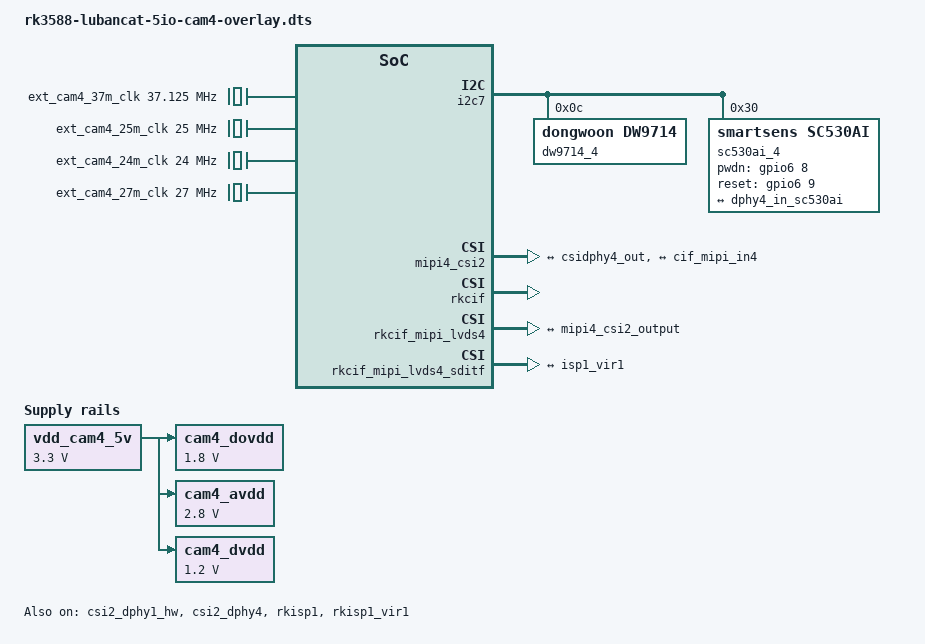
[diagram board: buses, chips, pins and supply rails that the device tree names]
/dts-v1/;
/plugin/;

#include <dt-bindings/usb/pd.h>
#include <dt-bindings/gpio/gpio.h>
#include <dt-bindings/pwm/pwm.h>
#include <dt-bindings/pinctrl/rockchip.h>
#include <dt-bindings/input/rk-input.h>
#include <dt-bindings/display/drm_mipi_dsi.h>
#include <dt-bindings/display/rockchip_vop.h>
#include <dt-bindings/sensor-dev.h>

/ {
	fragment@0 {
		target-path = "/";

		__overlay__ {
			ext_cam4_37m_clk: external-camera-37m-clock {
				compatible = "fixed-clock";
				clock-frequency = <37125000>;
				clock-output-names = "ext_cam4_37m_clk";
				#clock-cells = <0>;
			};

			ext_cam4_25m_clk: external-camera-25m-clock {
				compatible = "fixed-clock";
				clock-frequency = <25000000>;
				clock-output-names = "ext_cam4_25m_clk";
				#clock-cells = <0>;
			};

			ext_cam4_24m_clk: external-camera-24m-clock {
				compatible = "fixed-clock";
				#clock-cells = <0>;
				clock-frequency = <24000000>;
				clock-output-names = "ext_cam4_24m_clk";
			};

			ext_cam4_27m_clk: external-camera-27m-clock {
				compatible = "fixed-clock";
				#clock-cells = <0>;
				clock-frequency = <27000000>;
				clock-output-names = "ext_cam4_27m_clk";
			};

			vdd_cam4_5v: vdd-cam4-5v-regulator {
				compatible = "regulator-fixed";
				regulator-name = "vdd_cam4_5v";
				regulator-always-on;
				regulator-boot-on;
				regulator-min-microvolt = <3300000>;
				regulator-max-microvolt = <3300000>;
			};

			cam4_dovdd: cam4-dovdd {
				compatible = "regulator-fixed";
				regulator-name = "cam4_dovdd";
				regulator-always-on;
				regulator-boot-on;
				regulator-min-microvolt = <1800000>;
				regulator-max-microvolt = <1800000>;
				vin-supply = <&vdd_cam4_5v>;
			};

			cam4_avdd: cam4-avdd {
				compatible = "regulator-fixed";
				regulator-name = "cam4_avdd";
				regulator-always-on;
				regulator-boot-on;
				regulator-min-microvolt = <2800000>;
				regulator-max-microvolt = <2800000>;
				vin-supply = <&vdd_cam4_5v>;
			};

			cam4_dvdd: cam4-dvdd {
				compatible = "regulator-fixed";
				regulator-name = "cam4_dvdd";
				regulator-always-on;
				regulator-boot-on;
				regulator-min-microvolt = <1200000>;
				regulator-max-microvolt = <1200000>;
				vin-supply = <&vdd_cam4_5v>;
			};
		};
	};

	/* Link path: sensor->csi2_dphy4->mipi4_csi2->rkcif_mipi_lvds4--->rkcif_mipi_lvds4_sditf->rkisp1_vir1 */
	fragment@1 {
		target = <&i2c7>;

		__overlay__ {
			status = "okay";
			pinctrl-names = "default";
			pinctrl-0 = <&i2c7m0_xfer>;
			#address-cells = <1>;
			#size-cells = <0>;

			dw9714_4: dw9714-4@c {
				status = "okay";
				compatible = "dongwoon,dw9714";
				reg = <0xc>;
				rockchip,camera-module-index = <4>;
				rockchip,vcm-max-current = <100>;
				rockchip,vcm-start-current = <0>;
				rockchip,vcm-rated-current = <100>;
				rockchip,vcm-step-mode = <0xd>;
				rockchip,vcm-dlc-enable = <0>;
				rockchip,vcm-mclk = <0>;
				rockchip,vcm-t-src = <0>;
				rockchip,camera-module-facing = "back";
			};

			ov5647_4: ov5647-4@36 {
				compatible = "ovti,ov5647";
				status = "disabled";
				reg = <0x36>;
				clocks = <&ext_cam4_25m_clk>;
				clock-names = "ext_cam_25m_clk";
				pwdn-gpios = <&gpio6 8 GPIO_ACTIVE_LOW>;
				lens-focus = <&dw9714_4>;
				port {
					ov5647_out4: endpoint {
						remote-endpoint = <&dphy4_in_ov5647>;
						data-lanes = <1 2>;
					};
				};
			};

			ov5648_4: ov5648-4@36 {
				compatible = "ovti,ov5648";
				status = "disabled";
				reg = <0x36>;
				clocks = <&ext_cam4_24m_clk>;
				clock-names = "xvclk";
				dovdd-supply= <&cam4_dovdd>; /* 1.8v */
				avdd-supply = <&cam4_avdd>;  /* 2.8v */
				dvdd-supply = <&cam4_dvdd>;  /* 1.2v */
				pwdn-gpios = <&gpio6 8 GPIO_ACTIVE_HIGH>;
				reset-gpios = <&gpio6 9 GPIO_ACTIVE_LOW>;
				rotation = <180>;

				rockchip,camera-module-index = <4>;
				rockchip,camera-module-facing = "back";
				rockchip,camera-module-name = "THDS11073";
				rockchip,camera-module-lens-name = "Largan-40122a1";
				lens-focus = <&dw9714_4>;
				port {
					/* MIPI CSI-2 bus endpoint */
					ov5648_out4: endpoint {
						remote-endpoint = <&dphy4_in_ov5648>;
						clock-lanes = <0>;
						data-lanes = <1 2>;
					};
				};
			};

			ov8858_4: ov8858-4@36 {
				compatible = "ovti,ov8858";
				status = "disabled";
				reg = <0x36>;
				clocks = <&ext_cam4_24m_clk>;
				clock-names = "xvclk";
				dovdd-supply= <&cam4_dovdd>; /* 1.8v */
				avdd-supply = <&cam4_avdd>;  /* 2.8v */
				dvdd-supply = <&cam4_dvdd>;  /* 1.2v */
				pwdn-gpios = <&gpio6 8 GPIO_ACTIVE_HIGH>;
				reset-gpios = <&gpio6 9 GPIO_ACTIVE_HIGH>;
				rotation = <180>;

				rockchip,camera-module-index = <4>;
				rockchip,camera-module-facing = "back";
				rockchip,camera-module-name = "HS5885-BNSM1018-V01";
				rockchip,camera-module-lens-name = "default";
				lens-focus = <&dw9714_4>;
				port {
					/* MIPI CSI-2 bus endpoint */
					ov8858_out4: endpoint {
						remote-endpoint = <&dphy4_in_ov8858>;
						clock-lanes = <0>;
						data-lanes = <1 2>;
					};
				};
			};

			ov13850_4: ov13850-4@10 {
				compatible = "ovti,ov13850";
				status = "disabled";
				reg = <0x10>;
				clocks = <&ext_cam4_24m_clk>;
				clock-names = "xvclk";
				dovdd-supply= <&cam4_dovdd>; /* 1.8v */
				avdd-supply = <&cam4_avdd>;  /* 2.8v */
				dvdd-supply = <&cam4_dvdd>;  /* 1.2v */
				pwdn-gpios = <&gpio6 8 GPIO_ACTIVE_HIGH>;
				reset-gpios = <&gpio6 9 GPIO_ACTIVE_HIGH>;
				rotation = <180>;
				rockchip,camera-module-index = <4>;
				rockchip,camera-module-facing = "back";
				rockchip,camera-module-name = "ZC-OV13850R2A-V1";
				rockchip,camera-module-lens-name = "Largan-50064B31";
				lens-focus = <&dw9714_4>;
				port {
					/* MIPI CSI-2 bus endpoint */
					ov13850_out4: endpoint {
						remote-endpoint = <&dphy4_in_ov13850>;
						clock-lanes = <0>;
						data-lanes = <1 2>;
					};
				};
			};

			imx415_4: imx415-4@1a {
				compatible = "sony,imx415";
				status = "disabled";
				reg = <0x1a>;
				clocks = <&ext_cam4_37m_clk>;
				clock-names = "xvclk";
				avdd-supply = <&cam4_avdd>;
				dovdd-supply = <&cam4_dovdd>;
				dvdd-supply = <&cam4_dvdd>;
				reset-gpios = <&gpio6 9 GPIO_ACTIVE_LOW>;

				rockchip,camera-module-index = <4>;
				rockchip,camera-module-facing = "back";
				rockchip,camera-module-name = "CMK-OT2022-PX1";
				rockchip,camera-module-lens-name = "IR0147-50IRC-8M-F20";
				port {
					imx415_out4: endpoint {
						remote-endpoint = <&dphy4_in_imx415>;
						clock-lanes = <0>;
						data-lanes = <1 2>;
					};
				};
			};

			sc530ai_4: sc530ai-4@30 {
				compatible = "smartsens,sc530ai";
				status = "okay";
				reg = <0x30>;
				clocks = <&ext_cam4_24m_clk>;
				clock-names = "xvclk";
				pwdn-gpios = <&gpio6 8 GPIO_ACTIVE_HIGH>;
				reset-gpios = <&gpio6 9 GPIO_ACTIVE_HIGH>;
				rockchip,camera-module-index = <4>;
				rockchip,camera-module-facing = "back";
				rockchip,camera-module-name = "CMK-OT2115-PC1";
				rockchip,camera-module-lens-name = "30IRC-F16";
				rotation = <180>;

				port {
					sc530ai_out4: endpoint {
						remote-endpoint = <&dphy4_in_sc530ai>;
						clock-lanes = <0>;
						data-lanes = <1 2>;
					};
				};
			};
		};
	};

	fragment@2 {
		target = <&csi2_dphy1_hw>;

		__overlay__ {
			status = "okay";
		};
	};

	fragment@3 {
		target = <&csi2_dphy4>;

		__overlay__ {
			status = "okay";

			ports {
				#address-cells = <1>;
				#size-cells = <0>;
				port@0 {
					reg = <0>;
					#address-cells = <1>;
					#size-cells = <0>;
					dphy4_in_ov5648: endpoint@1 {
						reg = <1>;
						remote-endpoint = <&ov5648_out4>;
						data-lanes = <1 2>;
					};
					dphy4_in_ov8858: endpoint@2 {
						reg = <2>;
						remote-endpoint = <&ov8858_out4>;
						data-lanes = <1 2>;
					};
					dphy4_in_ov13850: endpoint@3 {
						reg = <3>;
						remote-endpoint = <&ov13850_out4>;
						data-lanes = <1 2>;
					};
					dphy4_in_ov5647: endpoint@4 {
						reg = <4>;
						remote-endpoint = <&ov5647_out4>;
						data-lanes = <1 2>;
					};
					dphy4_in_imx415: endpoint@5 {
						reg = <5>;
						remote-endpoint = <&imx415_out4>;
						data-lanes = <1 2>;
					};
					dphy4_in_sc530ai: endpoint@6 {
						reg = <6>;
						remote-endpoint = <&sc530ai_out4>;
						data-lanes = <1 2>;
					};
				};
				port@1 {
					reg = <1>;
					#address-cells = <1>;
					#size-cells = <0>;
					csidphy4_out: endpoint@0 {
						reg = <0>;
						remote-endpoint = <&mipi4_csi2_input>;
					};
				};
			};
		};
	};

	fragment@4 {
		target = <&mipi4_csi2>;

		__overlay__ {
			status = "okay";

			ports {
				#address-cells = <1>;
				#size-cells = <0>;
				port@0 {
					reg = <0>;
					#address-cells = <1>;
					#size-cells = <0>;
					mipi4_csi2_input: endpoint@1 {
						reg = <1>;
						remote-endpoint = <&csidphy4_out>;
					};
				};
				port@1 {
					reg = <1>;
					#address-cells = <1>;
					#size-cells = <0>;
					mipi4_csi2_output: endpoint@0 {
						reg = <0>;
						remote-endpoint = <&cif_mipi_in4>;
					};
				};
			};
		};
	};

	fragment@5 {
		target = <&rkcif>;

		__overlay__ {
			status = "okay";
		};
	};

	fragment@6 {
		target = <&rkcif_mipi_lvds4>;

		__overlay__ {
			status = "okay";

			port {
				cif_mipi_in4: endpoint {
					remote-endpoint = <&mipi4_csi2_output>;
				};
			};
		};
	};

	fragment@7 {
		target = <&rkcif_mipi_lvds4_sditf>;

		__overlay__ {
			status = "okay";

			port {
				mipi_lvds4_sditf: endpoint {
					remote-endpoint = <&isp1_vir1>;
				};
			};
		};
	};

	fragment@8 {
		target = <&rkcif_mmu>;

		__overlay__ {
			status = "okay";
		};
	};

	fragment@9 {
		target = <&rkisp1>;

		__overlay__ {
			status = "okay";
		};
	};

	fragment@10 {
		target = <&isp1_mmu>;

		__overlay__ {
			status = "okay";
		};
	};

	fragment@11 {
		target = <&rkisp1_vir1>;

		__overlay__ {
			status = "okay";

			port {
				#address-cells = <1>;
				#size-cells = <0>;
				isp1_vir1: endpoint@0 {
					reg = <0>;
					remote-endpoint = <&mipi_lvds4_sditf>;
				};
			};
		};
	};
};
